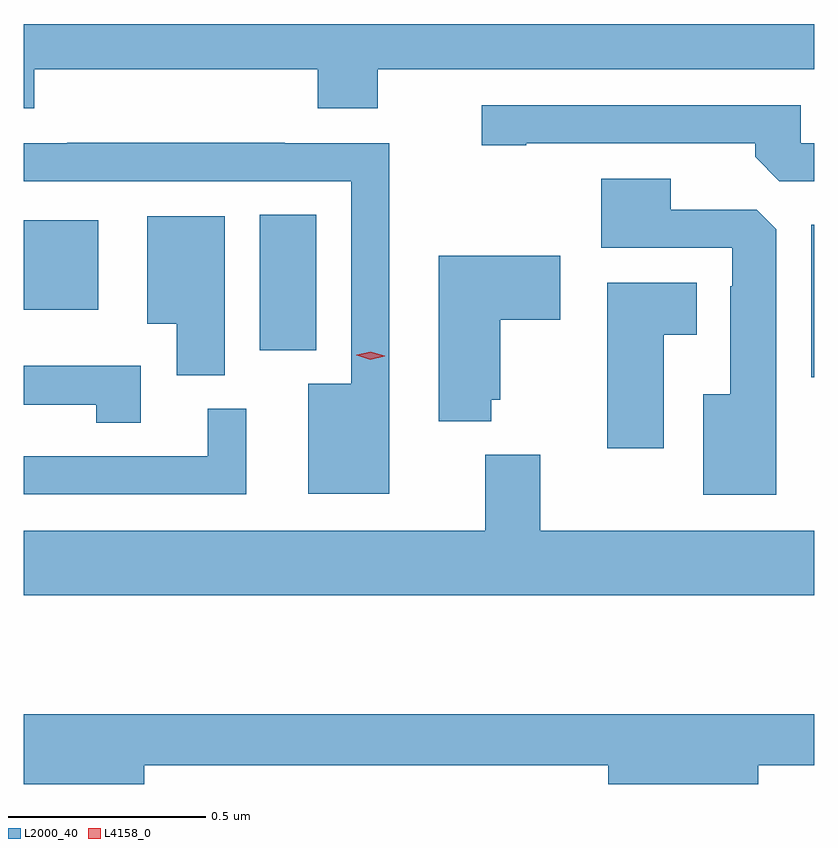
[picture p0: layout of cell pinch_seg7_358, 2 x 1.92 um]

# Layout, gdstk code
import gdstk
lib = gdstk.Library(unit=1e-6, precision=1e-09)
def R(c, l, rs):  # rectangles x0, y0, x1, y1
    for r in rs: c.add(gdstk.rectangle(r[:2], r[2:], *l))
def P(c, l, *ps):  # polygons
    for p in ps: c.add(gdstk.Polygon(p, *l))
L2000_40 = (2000, 40)
L4158_0 = (4158, 0)

pinch_seg7_358 = lib.new_cell('pinch_seg7_358')
R(pinch_seg7_358, L2000_40, [(402.287,1021.148,402.295,1021.534), (400.892,1021.217,401.035,1021.559), (400.295,1021.319,400.483,1021.546)])
P(pinch_seg7_358, L2000_40, [(400.322,1021.928),(401.039,1021.928),(401.039,1021.829),(401.191,1021.829),(401.191,1021.928),(402.295,1021.928),(402.295,1022.042),(400.295,1022.042),(400.295,1021.829),(400.322,1021.829)],
  [(402.295,1021.74),(402.261,1021.74),(402.261,1021.836),(401.454,1021.836),(401.454,1021.735),(401.566,1021.735),(401.566,1021.74),(402.146,1021.74),(402.146,1021.706),(402.207,1021.644),(402.295,1021.644)],
  [(401.22,1021.74),(400.955,1021.74),(400.955,1021.742),(400.405,1021.742),(400.405,1021.74),(400.295,1021.74),(400.295,1021.644),(401.124,1021.644),(401.124,1021.132),(401.015,1021.132),(401.015,1020.854),(401.22,1020.854)],
  [(402.199,1021.523),(402.15,1021.572),(401.932,1021.572),(401.932,1021.651),(401.756,1021.651),(401.756,1021.476),(402.087,1021.476),(402.087,1021.379),(402.083,1021.379),(402.083,1021.105),(402.014,1021.105),(402.014,1020.851),(402.199,1020.851)],
  [(400.804,1021.555),(400.607,1021.555),(400.607,1021.283),(400.682,1021.283),(400.682,1021.153),(400.804,1021.153)],
  [(401.478,1021.091),(401.5,1021.091),(401.5,1021.294),(401.653,1021.294),(401.653,1021.456),(401.345,1021.456),(401.345,1021.037),(401.478,1021.037)],
  [(401.914,1021.256),(401.998,1021.256),(401.998,1021.387),(401.771,1021.387),(401.771,1020.969),(401.914,1020.969)],
  [(400.591,1021.177),(400.295,1021.177),(400.295,1021.079),(400.478,1021.079),(400.478,1021.033),(400.591,1021.033)],
  [(400.858,1021.068),(400.76,1021.068),(400.76,1020.948),(400.295,1020.948),(400.295,1020.852),(400.858,1020.852)],
  [(402.295,1020.76),(401.602,1020.76),(401.602,1020.952),(401.462,1020.952),(401.462,1020.76),(400.295,1020.76),(400.295,1020.596),(402.295,1020.596)],
  [(400.6,1020.166),(401.774,1020.166),(401.774,1020.119),(402.154,1020.119),(402.154,1020.166),(402.295,1020.166),(402.295,1020.295),(400.295,1020.295),(400.295,1020.119),(400.6,1020.119)])
P(pinch_seg7_358, L4158_0, [(401.172,1021.193),(401.137,1021.204),(401.136,1021.204),(401.137,1021.205),(401.173,1021.213),(401.208,1021.202),(401.208,1021.201),(401.208,1021.201)])

lib.write_gds('pinch_seg7_358.gds')
